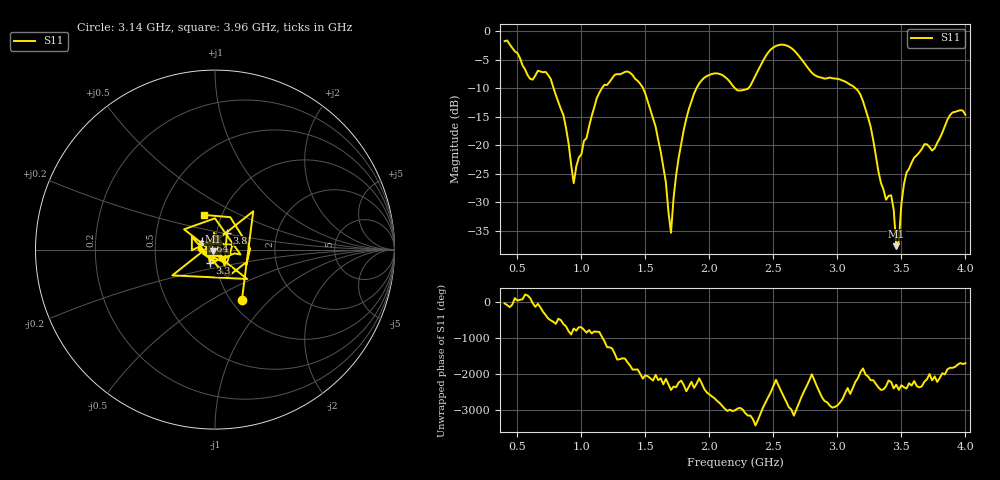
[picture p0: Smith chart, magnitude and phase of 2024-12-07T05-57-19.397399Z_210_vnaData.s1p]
!Created with skrf (http://scikit-rf.org).
# Hz S RI R 50.0
!freq ReS11 ImS11
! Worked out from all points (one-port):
!   181 points, 400 MHz to 4 GHz, reference 50 ohm
!   lowest |S11| = -37.7 dB at 3.46 GHz (marker M1), VSWR 1.03, Z = 49 - j0.843 ohm
!   |S11| at or under -10 dB: 782.6 MHz to 1.16 GHz (377.2 MHz wide, 38.8 % of centre); 1.482 GHz to 1.899 GHz (417.1 MHz wide, 24.7 % of centre); 3.14 GHz to end of sweep (the widest 3 of 4)
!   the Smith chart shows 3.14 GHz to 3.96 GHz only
!   S11 on the Smith chart (normalised r, x): 3.14 GHz: 1.12, -0.70; 3.3 GHz: 0.94, -0.14; 3.64 GHz: 0.86, +0.08; 3.8 GHz: 1.12, +0.21; 3.96 GHz: 0.82, +0.33
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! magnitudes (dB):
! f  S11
! 400 MHz  -1.7
! 600 MHz  -8.4
! 720 MHz  -7.1
! 860 MHz  -14.7
! 940 MHz  -26.7
! 1.12 GHz  -11.8
! 1.3 GHz  -7.6
! 1.5 GHz  -11.0
! 1.62 GHz  -21.2
! 1.7 GHz  -35.4
! 1.76 GHz  -22.2
! 1.94 GHz  -8.6
! 2.2 GHz  -10.0
! 2.5 GHz  -2.8
! 2.66 GHz  -3.3
! 3.1 GHz  -9.4
! 3.14 GHz  -10.0
! 3.3 GHz  -21.8
! 3.38 GHz  -29.6
! 3.42 GHz  -28.8
! 3.46 GHz  -37.7
! 3.48 GHz  -36.9
! 3.52 GHz  -26.8
! 3.56 GHz  -24.1
! 3.64 GHz  -21.3
! 3.8 GHz  -18.8
! 3.96 GHz  -13.9
! 4 GHz  -14.7
